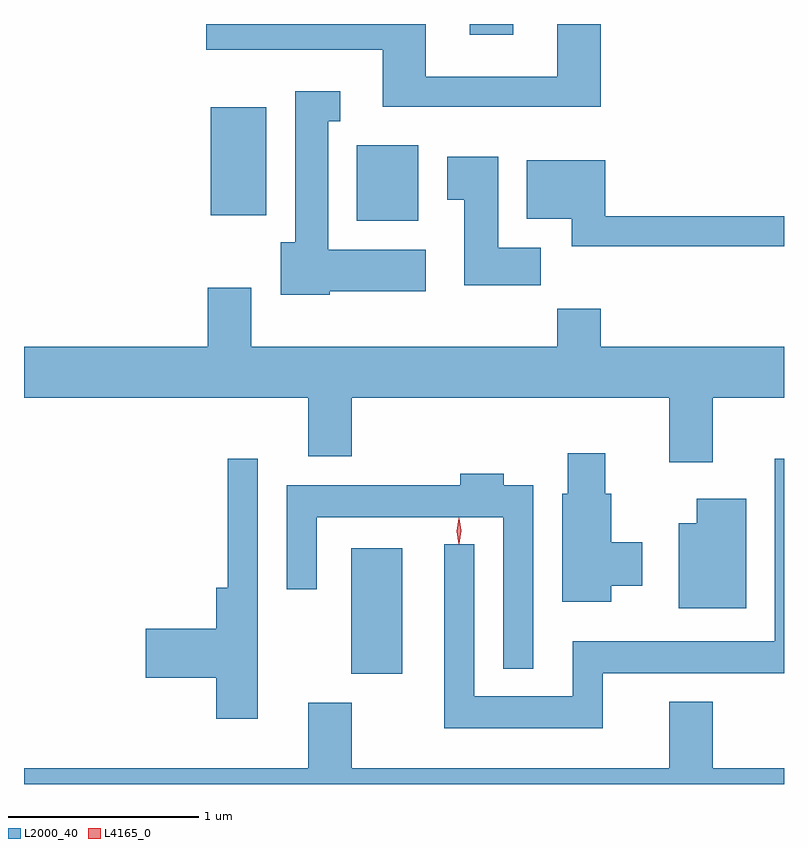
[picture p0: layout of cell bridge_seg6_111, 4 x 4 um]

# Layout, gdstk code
import gdstk
lib = gdstk.Library(unit=1e-6, precision=1e-09)
def R(c, l, rs):  # rectangles x0, y0, x1, y1
    for r in rs: c.add(gdstk.rectangle(r[:2], r[2:], *l))
def P(c, l, *ps):  # polygons
    for p in ps: c.add(gdstk.Polygon(p, *l))
L2000_40 = (2000, 40)
L4165_0 = (4165, 0)

bridge_seg6_111 = lib.new_cell('bridge_seg6_111')
R(bridge_seg6_111, L2000_40, [(1082.546,1612.961,1082.814,1613.624), (1082.576,1615.346,1082.899,1615.744), (1081.806,1615.376,1082.099,1615.944), (1083.171,1616.326,1083.399,1616.382)])
P(bridge_seg6_111, L2000_40, [(1083.859,1616.382),(1083.631,1616.382),(1083.631,1616.104),(1082.939,1616.104),(1082.939,1616.382),(1081.783,1616.382),(1081.783,1616.246),(1082.711,1616.246),(1082.711,1615.946),(1083.859,1615.946)],
  [(1082.434,1614.976),(1082.939,1614.976),(1082.939,1615.194),(1082.424,1615.194),(1082.424,1615.871),(1082.488,1615.871),(1082.488,1616.029),(1082.251,1616.029),(1082.251,1615.234),(1082.176,1615.234),(1082.176,1614.956),(1082.434,1614.956)],
  [(1083.544,1615.204),(1083.319,1615.204),(1083.319,1615.684),(1083.051,1615.684),(1083.051,1615.456),(1083.141,1615.456),(1083.141,1615.006),(1083.544,1615.006)],
  [(1084.824,1615.369),(1083.884,1615.369),(1083.884,1615.664),(1083.471,1615.664),(1083.471,1615.356),(1083.706,1615.356),(1083.706,1615.211),(1084.824,1615.211)],
  [(1084.449,1614.416),(1084.824,1614.416),(1084.824,1614.684),(1083.859,1614.684),(1083.859,1614.884),(1083.631,1614.884),(1083.631,1614.684),(1082.019,1614.684),(1082.019,1614.994),(1081.791,1614.994),(1081.791,1614.684),(1080.824,1614.684),(1080.824,1614.416),(1082.321,1614.416),(1082.321,1614.106),(1082.549,1614.106),(1082.549,1614.416),(1084.221,1614.416),(1084.221,1614.076),(1084.449,1614.076)],
  [(1083.914,1613.426),(1084.079,1613.426),(1084.079,1613.654),(1083.914,1613.654),(1083.914,1613.909),(1083.884,1613.909),(1083.884,1614.124),(1083.686,1614.124),(1083.686,1613.909),(1083.656,1613.909),(1083.656,1613.341),(1083.914,1613.341)],
  [(1082.054,1614.093),(1081.896,1614.093),(1081.896,1613.414),(1081.836,1613.414),(1081.836,1613.199),(1081.466,1613.199),(1081.466,1612.941),(1081.836,1612.941),(1081.836,1612.726),(1082.054,1612.726)],
  [(1083.869,1612.966),(1084.824,1612.966),(1084.824,1614.093),(1084.776,1614.093),(1084.776,1613.134),(1083.711,1613.134),(1083.711,1612.844),(1083.194,1612.844),(1083.194,1613.643),(1083.036,1613.643),(1083.036,1612.676),(1083.869,1612.676)],
  [(1083.504,1613.954),(1083.349,1613.954),(1083.349,1614.014),(1083.121,1614.014),(1083.121,1613.954),(1082.206,1613.954),(1082.206,1613.408),(1082.364,1613.408),(1082.364,1613.786),(1083.346,1613.786),(1083.346,1612.988),(1083.504,1612.988)],
  [(1084.624,1613.884),(1084.366,1613.884),(1084.366,1613.754),(1084.271,1613.754),(1084.271,1613.306),(1084.624,1613.306)],
  [(1084.824,1612.464),(1084.449,1612.464),(1084.449,1612.814),(1084.221,1612.814),(1084.221,1612.464),(1082.549,1612.464),(1082.549,1612.809),(1082.321,1612.809),(1082.321,1612.464),(1080.824,1612.464),(1080.824,1612.382),(1084.824,1612.382)])
P(bridge_seg6_111, L4165_0, [(1083.111,1613.644),(1083.102,1613.713),(1083.111,1613.782),(1083.112,1613.783),(1083.112,1613.782),(1083.122,1613.713),(1083.112,1613.644),(1083.112,1613.644)],
  [(1083.114,1613.647),(1083.105,1613.714),(1083.114,1613.78),(1083.115,1613.781),(1083.116,1613.78),(1083.125,1613.714),(1083.116,1613.647),(1083.115,1613.647)])

lib.write_gds('bridge_seg6_111.gds')
